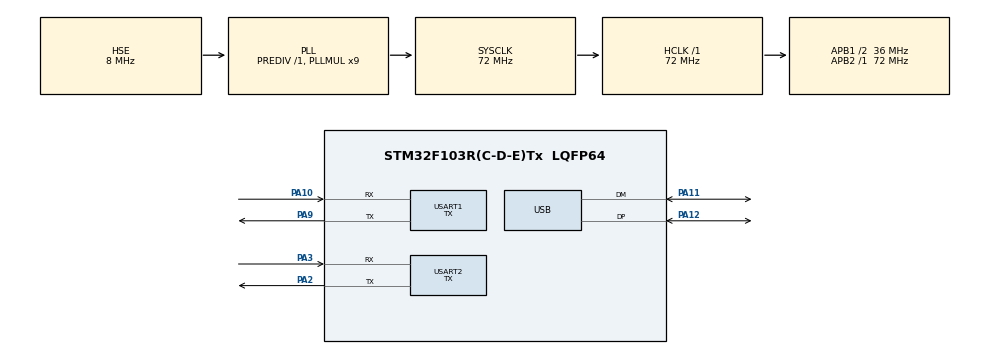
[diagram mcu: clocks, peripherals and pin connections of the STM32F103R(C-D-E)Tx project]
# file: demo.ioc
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Mcu.Family=STM32F1
Mcu.Name=STM32F103R(C-D-E)Tx
Mcu.Package=LQFP64
NVIC.PriorityGroup=NVIC_PRIORITYGROUP_4
NVIC.USART1_IRQn=true\:0\:0\:false\:false\:true\:true\:true\:true
NVIC.USB_LP_CAN1_RX0_IRQn=true\:0\:0\:false\:false\:true\:false\:true\:true
PA10.Mode=Asynchronous
PA10.Signal=USART1_RX
PA11.Mode=Device
PA11.Signal=USB_DM
PA12.Mode=Device
PA12.Signal=USB_DP
PA13.Mode=Serial_Wire
PA13.Signal=SYS_JTMS-SWDIO
PA14.Mode=Serial_Wire
PA14.Signal=SYS_JTCK-SWCLK
PA2.Mode=Asynchronous
PA2.Signal=USART2_TX
PA3.Mode=Asynchronous
PA3.Signal=USART2_RX
PA9.Mode=Asynchronous
PA9.Signal=USART1_TX
PD0-OSC_IN.Mode=HSE-External-Oscillator
PD0-OSC_IN.Signal=RCC_OSC_IN
PD1-OSC_OUT.Mode=HSE-External-Oscillator
PD1-OSC_OUT.Signal=RCC_OSC_OUT
ProjectManager.HeapSize=0x800
ProjectManager.StackSize=0x800
ProjectManager.TargetToolchain=MDK-ARM V5
RCC.AHBFreq_Value=72000000
RCC.APB1CLKDivider=RCC_HCLK_DIV2
RCC.APB1Freq_Value=36000000
RCC.APB1TimFreq_Value=72000000
RCC.APB2Freq_Value=72000000
RCC.APB2TimFreq_Value=72000000
RCC.HCLKFreq_Value=72000000
RCC.PLLMUL=RCC_PLL_MUL9
RCC.PLLSourceVirtual=RCC_PLLSOURCE_HSE
RCC.SYSCLKFreq_VALUE=72000000
RCC.SYSCLKSource=RCC_SYSCLKSOURCE_PLLCLK
RCC.USBFreq_Value=48000000
RCC.USBPrescaler=RCC_USBCLKSOURCE_PLL_DIV1_5
USART1.Mode=MODE_TX
USART1.VirtualMode=VM_ASYNC
USART2.Mode=MODE_TX
USART2.VirtualMode=VM_ASYNC
USB_DEVICE.CLASS_NAME_FS=CUSTOM_HID
USB_DEVICE.VirtualMode=CustomHid
USB_DEVICE.VirtualModeFS=Custom_Hid_FS
VP_USB_DEVICE_VS_USB_DEVICE_CUSTOM_HID_FS.Mode=CUSTOM_HID_FS
board=custom

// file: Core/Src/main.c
/* USER CODE BEGIN Header */
/**
 ******************************************************************************
 * @file           : main.c
 * @brief          : Main program body
 ******************************************************************************
 * @attention
 *
 * <h2><center>&copy; Copyright (c) 2022 STMicroelectronics.
 * All rights reserved.</center></h2>
 *
 * This software component is licensed by ST under BSD 3-Clause license,
 * the "License"; You may not use this file except in compliance with the
 * License. You may obtain a copy of the License at:
 *                        opensource.org/licenses/BSD-3-Clause
 *
 ******************************************************************************
 */
/* USER CODE END Header */
#include "main.h"
#include "gpio.h"
#include "usart.h"
#include "usb_device.h"

/* USER CODE BEGIN Includes */
#include "usbd_customhid.h"
extern USBD_HandleTypeDef hUsbDeviceFS;
/* USER CODE END Includes */

void SystemClock_Config(void);

int main(void) {

    /* MCU Configuration--------------------------------------------------------*/

    /* Reset of all peripherals, Initializes the Flash interface and the Systick. */
    HAL_Init();

    /* Configure the system clock */
    SystemClock_Config();

    /* Initialize all configured peripherals */
    MX_GPIO_Init();
    MX_USART1_UART_Init();
    MX_USART2_UART_Init();
    MX_USB_DEVICE_Init();

    /* Infinite loop */
    /* USER CODE BEGIN WHILE */
    uint8_t buff[8] = {0};

    /*
    每帧8字节:
       第1个字节为 shift,ctrl 等控制键，
       第2个字节保留，
       第3至第8个字节为按键。

    byte[0]:
        bit0: Left CTRL
        bit2: Left ALT
        bit3: Left GUI
        bit4: Right CTRL
        bit5: Right SHIFT
        bit6: Right ALT
        bit7: Right GUI
    byte[1]:0x00
    byte[2]:Key 1
    byte[3]:Key 2
    byte[4]:Key 3
    byte[5]:Key 4
    byte[6]:Key 5
    byte[7]:Key 6
    */

    while (1) {
        buff[0] = 0x00;
        buff[1] = 0x00;
        buff[2] = 0x04;  // a
        buff[3] = 0x58;  // \n
        USBD_CUSTOM_HID_SendReport(&hUsbDeviceFS, buff, 8);
        HAL_Delay(15);
        buff[0] = 0x00;
        buff[1] = 0x00;
        buff[2] = 0x00;
        buff[3] = 0x00;
        USBD_CUSTOM_HID_SendReport(&hUsbDeviceFS, buff, 8);
        HAL_Delay(1000);

        /* USER CODE END WHILE */

    }
}

void SystemClock_Config(void) {
    RCC_OscInitTypeDef       RCC_OscInitStruct = {0};
    RCC_ClkInitTypeDef       RCC_ClkInitStruct = {0};
    RCC_PeriphCLKInitTypeDef PeriphClkInit     = {0};

    /** Initializes the RCC Oscillators according to the specified parameters
     * in the RCC_OscInitTypeDef structure.
     */
    RCC_OscInitStruct.OscillatorType = RCC_OSCILLATORTYPE_HSE;
    RCC_OscInitStruct.HSEState       = RCC_HSE_ON;
    RCC_OscInitStruct.HSEPredivValue = RCC_HSE_PREDIV_DIV1;
    RCC_OscInitStruct.HSIState       = RCC_HSI_ON;
    RCC_OscInitStruct.PLL.PLLState   = RCC_PLL_ON;
    RCC_OscInitStruct.PLL.PLLSource  = RCC_PLLSOURCE_HSE;
    RCC_OscInitStruct.PLL.PLLMUL     = RCC_PLL_MUL9;
    if (HAL_RCC_OscConfig(&RCC_OscInitStruct) != HAL_OK) {
        Error_Handler();
    }

    /** Initializes the CPU, AHB and APB buses clocks
     */
    RCC_ClkInitStruct.ClockType      = RCC_CLOCKTYPE_HCLK | RCC_CLOCKTYPE_SYSCLK | RCC_CLOCKTYPE_PCLK1 | RCC_CLOCKTYPE_PCLK2;
    RCC_ClkInitStruct.SYSCLKSource   = RCC_SYSCLKSOURCE_PLLCLK;
    RCC_ClkInitStruct.AHBCLKDivider  = RCC_SYSCLK_DIV1;
    RCC_ClkInitStruct.APB1CLKDivider = RCC_HCLK_DIV2;
    RCC_ClkInitStruct.APB2CLKDivider = RCC_HCLK_DIV1;

    if (HAL_RCC_ClockConfig(&RCC_ClkInitStruct, FLASH_LATENCY_2) != HAL_OK) {
        Error_Handler();
    }
    PeriphClkInit.PeriphClockSelection = RCC_PERIPHCLK_USB;
    PeriphClkInit.UsbClockSelection    = RCC_USBCLKSOURCE_PLL_DIV1_5;
    if (HAL_RCCEx_PeriphCLKConfig(&PeriphClkInit) != HAL_OK) {
        Error_Handler();
    }
}

void Error_Handler(void) {
}
